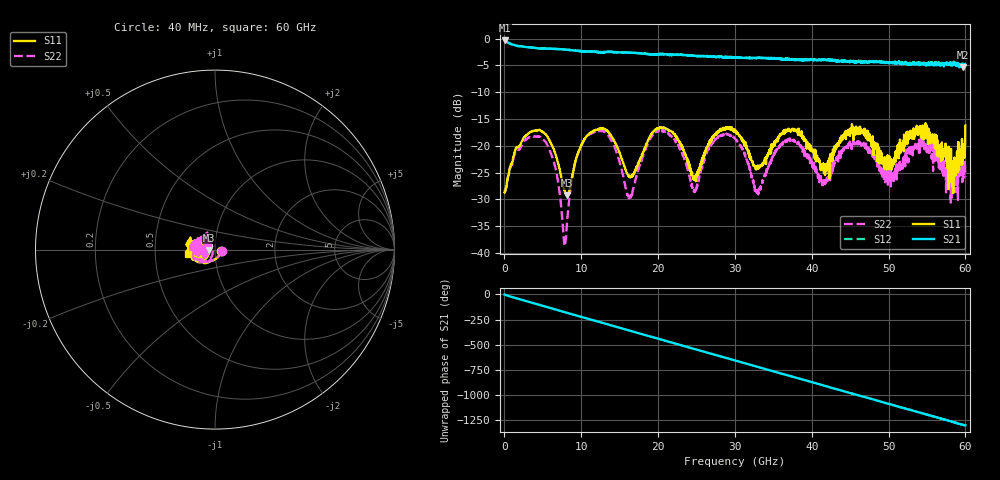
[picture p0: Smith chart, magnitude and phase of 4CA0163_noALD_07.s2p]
! File created by 'SoftPlot +Plus+ Measurement Management Software'
! SoftPlot +Plus+ Measurement Management Software
! Start 40.000000 MHz  Stop 60.000000 GHz  Points 1601
# MHZ S RI R 50
! S-Parameter data, F S11 S21 S12 S22
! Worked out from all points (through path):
!   1601 points, 40 MHz to 60 GHz, reference 50 ohm
!   highest |S21| = -0.35 dB at 40 MHz (marker M1); lowest = -5.4 dB at 59.66 GHz (marker M2)
!   group delay of S21, straight-line fit = 60.1 ps
!   lowest |S11| = -29.3 dB at 8.097 GHz (marker M3), VSWR 1.07, Z = 46.7 - j0.235 ohm
!   |S11| at or under -10 dB: start of sweep to end of sweep
!   |S22| runs from -38.7 to -17.1 dB; largest |S21 - S12| = 0.048
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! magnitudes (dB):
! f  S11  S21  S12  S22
! 40 MHz  -28.7  -0.4  -0.4  -28.2
! 1.576 GHz  -20.3  -1.3  -1.3  -20.8
! 4.762 GHz  -17.2  -1.9  -1.8  -18.4
! 6.448 GHz  -20.8  -1.9  -1.9  -23.1
! 8.097 GHz  -29.3  -2.1  -2.1  -35.7
! 10.05 GHz  -19.8  -2.4  -2.4  -19.9
! 13.34 GHz  -17.2  -2.5  -2.5  -17.7
! 16.34 GHz  -25.8  -2.6  -2.6  -29.7
! 20.05 GHz  -16.8  -2.9  -2.9  -17.2
! 24.74 GHz  -26.0  -3.2  -3.2  -28.6
! 27.06 GHz  -18.4  -3.3  -3.3  -19.5
! 30.02 GHz  -17.3  -3.5  -3.4  -18.6
! 32.91 GHz  -23.8  -3.6  -3.6  -28.3
! 36.58 GHz  -17.4  -3.9  -3.8  -19.2
! 40.03 GHz  -21.0  -3.9  -3.9  -23.0
! 41.64 GHz  -24.6  -4.0  -4.0  -26.5
! 46.13 GHz  -16.6  -4.4  -4.3  -19.5
! 50.03 GHz  -24.0  -4.5  -4.4  -24.5
! 54.3 GHz  -17.7  -4.7  -4.7  -19.4
! 58.46 GHz  -23.7  -4.9  -4.3  -27.2
! 59.66 GHz  -22.7  -5.4  -4.9  -24.8
! 60 GHz  -16.2  -4.9  -4.8  -25.8
